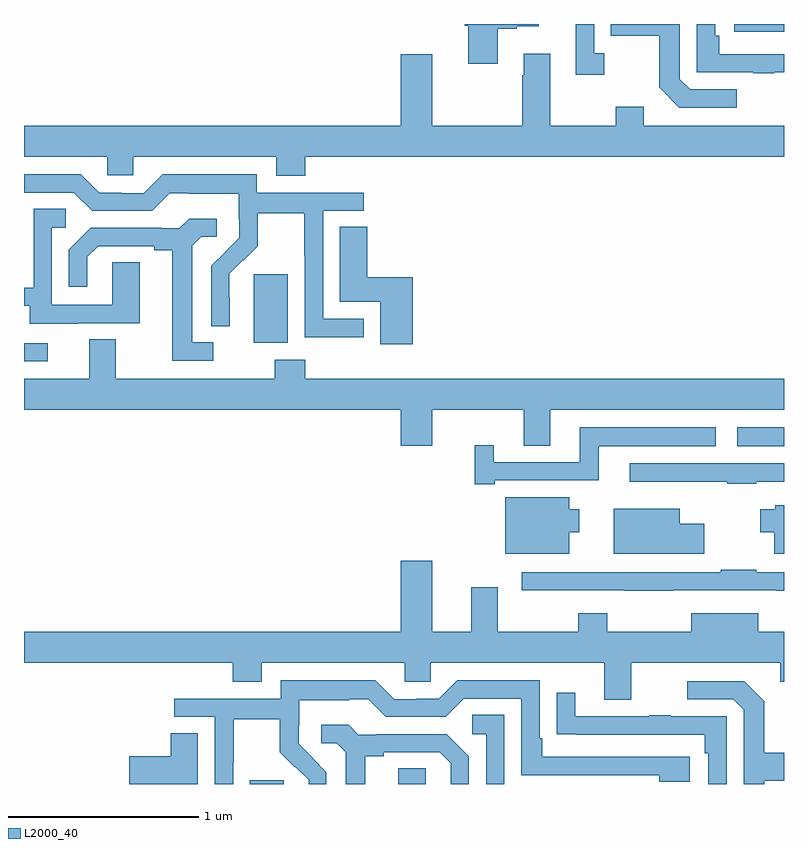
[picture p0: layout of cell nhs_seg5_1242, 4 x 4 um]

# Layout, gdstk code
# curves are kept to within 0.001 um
import gdstk
lib = gdstk.Library(unit=1e-6, precision=1e-09)
def R(c, l, rs):  # rectangles x0, y0, x1, y1
    for r in rs: c.add(gdstk.rectangle(r[:2], r[2:], *l))
def P(c, l, *ps):  # polygons
    for p in ps: c.add(gdstk.Polygon(p, *l))
L2000_40 = (2000, 40)

nhs_seg5_1242 = lib.new_cell('nhs_seg5_1242')
R(nhs_seg5_1242, L2000_40, [(188.189,846.799,188.368,846.819), (188.969,846.799,189.114,846.881), (190.755,848.576,191,848.677), (187,849.024,187.126,849.12), (188.21,849.122,188.389,849.483), (190.737,850.758,191,850.799)])
P(nhs_seg5_1242, L2000_40, [(190.75,850.455),(190.506,850.455),(190.452,850.509),(190.452,850.799),(190.087,850.799),(190.087,850.738),(190.344,850.738),(190.344,850.465),(190.449,850.359),(190.75,850.359)],
  [(190.054,850.646),(190.002,850.646),(190.002,850.799),(189.905,850.799),(189.905,850.533),(190.054,850.533)],
  [(190.949,850.545),(191,850.545),(191,850.641),(190.658,850.641),(190.658,850.738),(190.638,850.738),(190.638,850.799),(190.542,850.799),(190.542,850.545),(190.837,850.545),(190.837,850.54),(190.949,850.54)],
  [(189.493,850.775),(189.593,850.775),(189.593,850.787),(189.709,850.787),(189.709,850.799),(189.32,850.799),(189.32,850.791),(189.338,850.791),(189.338,850.59),(189.493,850.59)],
  [(188.48,850.1),(191,850.1),(191,850.264),(190.261,850.264),(190.261,850.363),(190.114,850.363),(190.114,850.264),(189.769,850.264),(189.769,850.642),(189.629,850.642),(189.629,850.529),(189.622,850.529),(189.622,850.264),(189.148,850.264),(189.148,850.639),(188.984,850.639),(188.984,850.264),(187,850.264),(187,850.1),(187.437,850.1),(187.437,850.002),(187.575,850.002),(187.575,850.1),(188.327,850.1),(188.327,850.001),(188.48,850.001)],
  [(188.788,849.249),(188.574,849.249),(188.574,849.816),(188.788,849.816),(188.788,849.912),(188.226,849.912),(188.226,850.009),(187.729,850.009),(187.629,849.909),(187.514,849.909),(187.514,849.912),(187.395,849.912),(187.299,850.008),(187,850.008),(187,849.912),(187.263,849.912),(187.359,849.816),(187.674,849.816),(187.767,849.909),(187.867,849.909),(187.867,849.905),(188.13,849.905),(188.13,849.771),(188.132,849.771),(188.132,849.674),(187.986,849.526),(187.986,849.208),(188.082,849.208),(188.081,849.485),(188.151,849.555),(188.154,849.552),(188.231,849.629),(188.231,849.804),(188.476,849.804),(188.476,849.58),(188.478,849.58),(188.478,849.151),(188.788,849.151)],
  [(187.285,849.225),(187.609,849.225),(187.609,849.545),(187.464,849.545),(187.464,849.321),(187.146,849.321),(187.146,849.726),(187.219,849.726),(187.219,849.827),(187.05,849.827),(187.05,849.411),(187,849.411),(187,849.315),(187.031,849.315),(187.031,849.221),(187.285,849.221)],
  [(187.996,849.123),(187.885,849.123),(187.885,849.631),(187.932,849.678),(188.014,849.678),(188.014,849.775),(187.87,849.775),(187.818,849.723),(187.724,849.723),(187.724,849.726),(187.352,849.726),(187.236,849.61),(187.236,849.417),(187.333,849.417),(187.333,849.573),(187.39,849.63),(187.685,849.63),(187.685,849.608),(187.781,849.608),(187.781,849.027),(187.996,849.027)],
  [(189.047,849.466),(188.807,849.466),(188.807,849.731),(188.663,849.731),(188.663,849.338),(188.876,849.338),(188.876,849.114),(189.047,849.114)],
  [(189.769,848.768),(191,848.768),(191,848.932),(188.48,848.932),(188.48,849.031),(188.32,849.031),(188.32,848.932),(187.483,848.932),(187.483,849.14),(187.343,849.14),(187.343,848.932),(187,848.932),(187,848.768),(188.984,848.768),(188.984,848.58),(189.148,848.58),(189.148,848.768),(189.629,848.768),(189.629,848.578),(189.769,848.578)],
  [(189.478,848.397),(190.024,848.397),(190.024,848.576),(190.642,848.576),(190.642,848.677),(189.926,848.677),(189.926,848.493),(189.472,848.493),(189.472,848.581),(189.373,848.581),(189.373,848.377),(189.478,848.377)],
  [(190.853,848.391),(191,848.391),(191,848.487),(190.188,848.487),(190.188,848.39),(190.546,848.39),(190.546,848.389),(190.7,848.389),(190.7,848.379),(190.853,848.379)],
  [(189.871,848.123),(189.922,848.123),(189.922,848.245),(189.871,848.245),(189.871,848.308),(189.533,848.308),(189.533,848.012),(189.871,848.012)],
  [(191,848.266),(190.953,848.266),(190.953,848.245),(190.874,848.245),(190.874,848.123),(190.949,848.123),(190.949,848.012),(191,848.012)],
  [(190.579,848.17),(190.45,848.17),(190.45,848.248),(190.103,848.248),(190.103,848.012),(190.579,848.012)],
  [(187,847.436),(188.099,847.436),(188.099,847.337),(188.251,847.337),(188.251,847.436),(189.003,847.436),(189.003,847.338),(189.141,847.338),(189.141,847.436),(190.055,847.436),(190.055,847.242),(190.195,847.242),(190.195,847.436),(190.979,847.436),(190.979,847.337),(191,847.337),(191,847.6),(190.864,847.6),(190.864,847.699),(190.511,847.699),(190.511,847.6),(190.071,847.6),(190.071,847.699),(189.916,847.699),(189.916,847.6),(189.493,847.6),(189.493,847.834),(189.353,847.834),(189.353,847.6),(189.148,847.6),(189.148,847.975),(188.984,847.975),(188.984,847.6),(187,847.6)],
  [(190.415,847.818),(190.96,847.818),(190.96,847.817),(191,847.817),(191,847.914),(190.853,847.914),(190.853,847.927),(190.666,847.927),(190.666,847.914),(189.621,847.914),(189.621,847.818),(190.159,847.818),(190.159,847.817),(190.415,847.817)],
  [(188.1,846.916),(188.103,846.916),(188.103,847.14),(188.347,847.14),(188.347,846.965),(188.424,846.888),(188.427,846.891),(188.498,846.821),(188.498,846.799),(188.592,846.799),(188.592,846.862),(188.446,847.01),(188.446,847.107),(188.448,847.107),(188.448,847.241),(188.711,847.241),(188.711,847.245),(188.811,847.245),(188.904,847.152),(189.219,847.152),(189.315,847.248),(189.618,847.248),(189.618,846.846),(190.343,846.846),(190.343,846.812),(190.504,846.812),(190.504,846.942),(189.727,846.942),(189.727,847.039),(189.714,847.039),(189.714,847.344),(189.279,847.344),(189.183,847.248),(189.065,847.248),(189.065,847.245),(188.949,847.245),(188.849,847.345),(188.352,847.345),(188.352,847.248),(187.791,847.248),(187.791,847.152),(188.004,847.152),(188.004,846.799),(188.1,846.799)],
  [(190.897,846.815),(191,846.815),(191,846.963),(190.897,846.963),(190.897,847.235),(190.791,847.341),(190.491,847.341),(190.491,847.245),(190.734,847.245),(190.788,847.191),(190.788,846.799),(190.897,846.799)],
  [(190.698,847.155),(190.403,847.155),(190.403,847.16),(190.291,847.16),(190.291,847.155),(189.901,847.155),(189.901,847.279),(189.805,847.279),(189.805,847.06),(189.907,847.06),(189.907,847.059),(190.582,847.059),(190.582,846.962),(190.602,846.962),(190.602,846.799),(190.698,846.799)],
  [(189.528,847.163),(189.36,847.163),(189.36,847.062),(189.432,847.062),(189.432,846.799),(189.528,846.799)],
  [(188.797,846.944),(188.893,846.944),(188.893,846.966),(189.188,846.966),(189.245,846.909),(189.245,846.799),(189.342,846.799),(189.342,846.946),(189.226,847.062),(188.854,847.062),(188.854,847.059),(188.76,847.059),(188.708,847.111),(188.565,847.111),(188.565,847.014),(188.646,847.014),(188.693,846.967),(188.693,846.799),(188.797,846.799)],
  [(187.915,847.067),(187.772,847.067),(187.772,846.944),(187.554,846.944),(187.554,846.799),(187.915,846.799)])

lib.write_gds('nhs_seg5_1242.gds')
